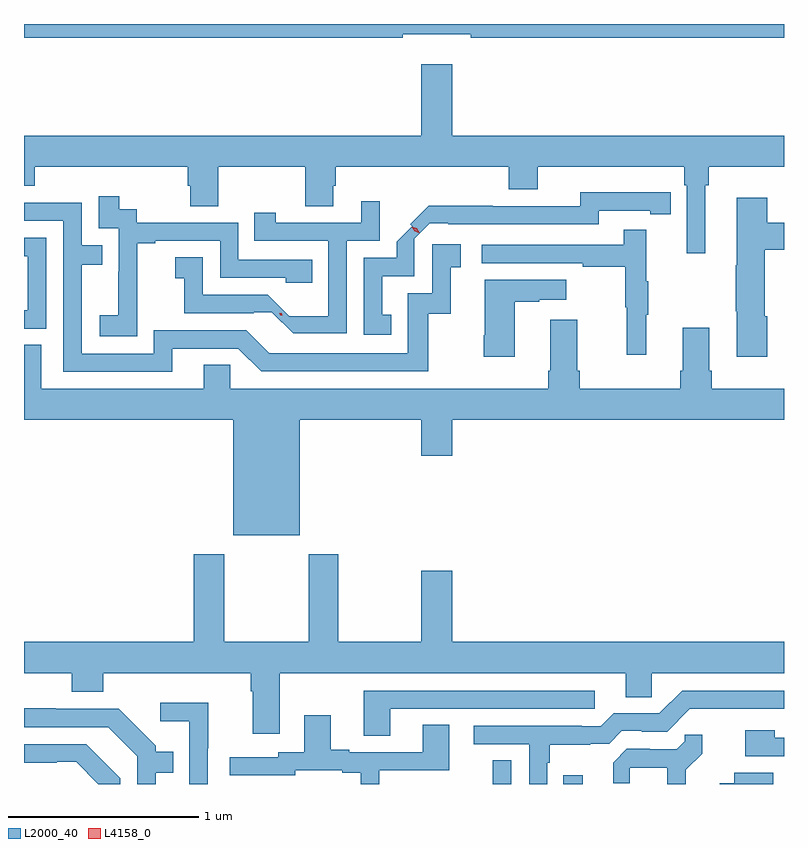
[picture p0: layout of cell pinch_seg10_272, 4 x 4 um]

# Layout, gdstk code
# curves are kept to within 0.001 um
import gdstk
lib = gdstk.Library(unit=1e-6, precision=1e-09)
def R(c, l, rs):  # rectangles x0, y0, x1, y1
    for r in rs: c.add(gdstk.rectangle(r[:2], r[2:], *l))
def P(c, l, *ps):  # polygons
    for p in ps: c.add(gdstk.Polygon(p, *l))
L2000_40 = (2000, 40)
L4158_0 = (4158, 0)

pinch_seg10_272 = lib.new_cell('pinch_seg10_272')
R(pinch_seg10_272, L2000_40, [(501.049,1315.716,501.147,1315.841), (501.421,1315.716,501.522,1315.762)])
P(pinch_seg10_272, L2000_40, [(500.576,1319.663),(500.932,1319.663),(500.932,1319.644),(502.582,1319.644),(502.582,1319.716),(498.582,1319.716),(498.582,1319.644),(500.576,1319.644)],
  [(502.168,1318.868),(502.187,1318.868),(502.187,1318.964),(502.582,1318.964),(502.582,1319.128),(500.836,1319.128),(500.836,1319.503),(500.672,1319.503),(500.672,1319.128),(498.582,1319.128),(498.582,1318.865),(498.638,1318.865),(498.638,1318.964),(499.445,1318.964),(499.445,1318.866),(499.457,1318.866),(499.457,1318.756),(499.605,1318.756),(499.605,1318.964),(500.062,1318.964),(500.062,1318.756),(500.209,1318.756),(500.209,1318.866),(500.222,1318.866),(500.222,1318.964),(501.134,1318.964),(501.134,1318.847),(501.286,1318.847),(501.286,1318.964),(502.058,1318.964),(502.058,1318.868),(502.071,1318.868),(502.071,1318.509),(502.168,1318.509)],
  [(500.516,1318.185),(500.467,1318.185),(500.467,1318.389),(500.637,1318.389),(500.637,1318.587),(500.718,1318.668),(500.815,1318.668),(500.815,1318.662),(501.606,1318.662),(501.606,1318.734),(501.878,1318.734),(501.878,1318.714),(501.986,1318.714),(501.986,1318.83),(501.51,1318.831),(501.51,1318.758),(501.05,1318.758),(501.05,1318.76),(500.713,1318.76),(500.616,1318.662),(500.626,1318.652),(500.544,1318.57),(500.544,1318.485),(500.37,1318.485),(500.37,1318.08),(500.516,1318.08)],
  [(499.179,1318.279),(499.178,1318.279),(499.178,1318.563),(499.273,1318.563),(499.273,1318.575),(499.614,1318.575),(499.614,1318.38),(499.959,1318.38),(499.959,1318.353),(500.099,1318.353),(500.099,1318.476),(499.71,1318.476),(499.71,1318.671),(499.176,1318.671),(499.176,1318.74),(499.084,1318.74),(499.084,1318.81),(498.975,1318.81),(498.975,1318.641),(499.08,1318.641),(499.08,1318.412),(499.079,1318.412),(499.079,1318.183),(498.981,1318.183),(498.981,1318.073),(499.179,1318.073)],
  [(502.493,1318.178),(502.48,1318.178),(502.48,1318.529),(502.582,1318.529),(502.582,1318.671),(502.493,1318.671),(502.493,1318.801),(502.334,1318.801),(502.334,1318.445),(502.327,1318.445),(502.327,1318.204),(502.334,1318.204),(502.334,1317.966),(502.493,1317.966)],
  [(500.28,1318.575),(500.454,1318.575),(500.454,1318.783),(500.357,1318.783),(500.357,1318.671),(499.906,1318.671),(499.906,1318.723),(499.795,1318.723),(499.795,1318.575),(500.184,1318.575),(500.184,1318.179),(499.977,1318.179),(499.866,1318.29),(499.524,1318.29),(499.524,1318.489),(499.377,1318.489),(499.377,1318.379),(499.426,1318.379),(499.426,1318.194),(499.79,1318.194),(499.79,1318.2),(499.887,1318.2),(499.998,1318.089),(500.28,1318.089)],
  [(499.363,1318.008),(499.71,1318.008),(499.83,1317.888),(500.71,1317.888),(500.71,1318.191),(500.828,1318.191),(500.828,1318.437),(500.881,1318.437),(500.881,1318.558),(500.73,1318.558),(500.73,1318.299),(500.601,1318.299),(500.601,1317.984),(499.872,1317.984),(499.752,1318.104),(499.266,1318.104),(499.266,1317.981),(498.885,1317.981),(498.885,1318.45),(498.995,1318.45),(498.995,1318.551),(498.885,1318.551),(498.885,1318.776),(498.582,1318.776),(498.582,1318.68),(498.789,1318.68),(498.789,1317.885),(499.363,1317.885)],
  [(501.857,1318.187),(501.868,1318.187),(501.868,1318.361),(501.857,1318.361),(501.857,1318.633),(501.739,1318.633),(501.739,1318.554),(500.991,1318.554),(500.991,1318.458),(501.523,1318.458),(501.523,1318.438),(501.747,1318.438),(501.747,1318.224),(501.754,1318.224),(501.754,1317.975),(501.857,1317.975)],
  [(498.699,1318.59),(498.582,1318.59),(498.582,1318.494),(498.603,1318.494),(498.603,1318.209),(498.582,1318.209),(498.582,1318.113),(498.699,1318.113)],
  [(501.166,1318.255),(501.293,1318.255),(501.293,1318.265),(501.436,1318.265),(501.436,1318.369),(501.008,1318.369),(501.008,1318.078),(501.001,1318.078),(501.001,1317.966),(501.166,1317.966)],
  [(500.032,1317.632),(500.672,1317.632),(500.672,1317.444),(500.836,1317.444),(500.836,1317.632),(502.582,1317.632),(502.582,1317.796),(502.202,1317.796),(502.202,1317.892),(502.189,1317.892),(502.189,1318.117),(502.049,1318.117),(502.049,1317.892),(502.037,1317.892),(502.037,1317.796),(501.506,1317.796),(501.506,1317.892),(501.493,1317.892),(501.493,1318.159),(501.353,1318.159),(501.353,1317.892),(501.341,1317.892),(501.341,1317.796),(499.668,1317.796),(499.668,1317.923),(499.529,1317.923),(499.529,1317.796),(498.673,1317.796),(498.673,1318.028),(498.582,1318.028),(498.582,1317.632),(499.682,1317.632),(499.682,1317.026),(500.032,1317.026)],
  [(499.635,1316.926),(499.475,1316.926),(499.475,1316.464),(498.582,1316.464),(498.582,1316.3),(498.833,1316.3),(498.833,1316.201),(498.998,1316.201),(498.998,1316.3),(499.775,1316.3),(499.775,1316.204),(499.787,1316.204),(499.787,1315.98),(499.927,1315.98),(499.927,1316.3),(501.749,1316.3),(501.749,1316.173),(501.887,1316.173),(501.887,1316.3),(502.582,1316.3),(502.582,1316.464),(500.836,1316.464),(500.836,1316.839),(500.672,1316.839),(500.672,1316.464),(500.235,1316.464),(500.235,1316.926),(500.08,1316.926),(500.08,1316.464),(499.635,1316.464)],
  [(500.509,1316.112),(501.586,1316.112),(501.586,1316.208),(500.369,1316.208),(500.369,1315.969),(500.509,1315.969)],
  [(501.336,1315.829),(501.349,1315.829),(501.349,1315.923),(501.563,1315.923),(501.563,1315.927),(501.661,1315.927),(501.729,1315.995),(501.832,1315.995),(501.832,1315.992),(501.968,1315.992),(502.087,1316.111),(502.582,1316.112),(502.582,1316.208),(502.046,1316.208),(501.926,1316.088),(501.687,1316.088),(501.618,1316.019),(501.518,1316.019),(501.518,1316.022),(500.949,1316.022),(500.949,1315.926),(501.24,1315.926),(501.24,1315.716),(501.336,1315.716)],
  [(499.548,1315.904),(499.551,1315.904),(499.551,1316.143),(499.299,1316.143),(499.299,1316.045),(499.452,1316.045),(499.452,1315.716),(499.548,1315.716)],
  [(499.276,1315.776),(499.367,1315.776),(499.367,1315.885),(499.275,1315.885),(499.275,1315.917),(499.08,1316.112),(498.749,1316.112),(498.749,1316.114),(498.582,1316.114),(498.582,1316.016),(499.026,1316.016),(499.179,1315.863),(499.179,1315.716),(499.276,1315.716)],
  [(500.451,1315.788),(500.821,1315.788),(500.821,1316.027),(500.681,1316.027),(500.681,1315.884),(500.293,1315.884),(500.293,1315.897),(500.197,1315.897),(500.197,1316.077),(500.057,1316.077),(500.057,1315.884),(499.92,1315.884),(499.92,1315.857),(499.665,1315.857),(499.665,1315.761),(500.01,1315.761),(500.01,1315.788),(500.258,1315.788),(500.258,1315.776),(500.354,1315.776),(500.354,1315.716),(500.451,1315.716)],
  [(502.582,1315.959),(502.533,1315.959),(502.533,1315.999),(502.377,1315.999),(502.377,1315.863),(502.582,1315.863)],
  [(502.066,1315.79),(502.153,1315.876),(502.153,1315.974),(502.059,1315.974),(502.059,1315.941),(502.017,1315.899),(501.875,1315.899),(501.875,1315.902),(501.755,1315.902),(501.683,1315.829),(501.683,1315.719),(501.77,1315.719),(501.77,1315.802),(501.968,1315.802),(501.968,1315.716),(502.066,1315.716)],
  [(499.089,1315.747),(498.91,1315.926),(498.582,1315.926),(498.582,1315.829),(498.755,1315.829),(498.755,1315.832),(498.857,1315.832),(498.973,1315.716),(499.089,1315.716)],
  [(502.525,1315.774),(502.319,1315.774),(502.319,1315.719),(502.244,1315.719),(502.244,1315.716),(502.525,1315.716)])
P(pinch_seg10_272, L4158_0, [(500.664,1318.616),(500.638,1318.625),(500.624,1318.65),(500.624,1318.65),(500.624,1318.65),(500.65,1318.64),(500.665,1318.616),(500.665,1318.616)],
  [(499.942,1318.182),(499.93,1318.183),(499.93,1318.183),(499.93,1318.184),(499.926,1318.194),(499.937,1318.193),(499.938,1318.193),(499.938,1318.193)])

lib.write_gds('pinch_seg10_272.gds')
